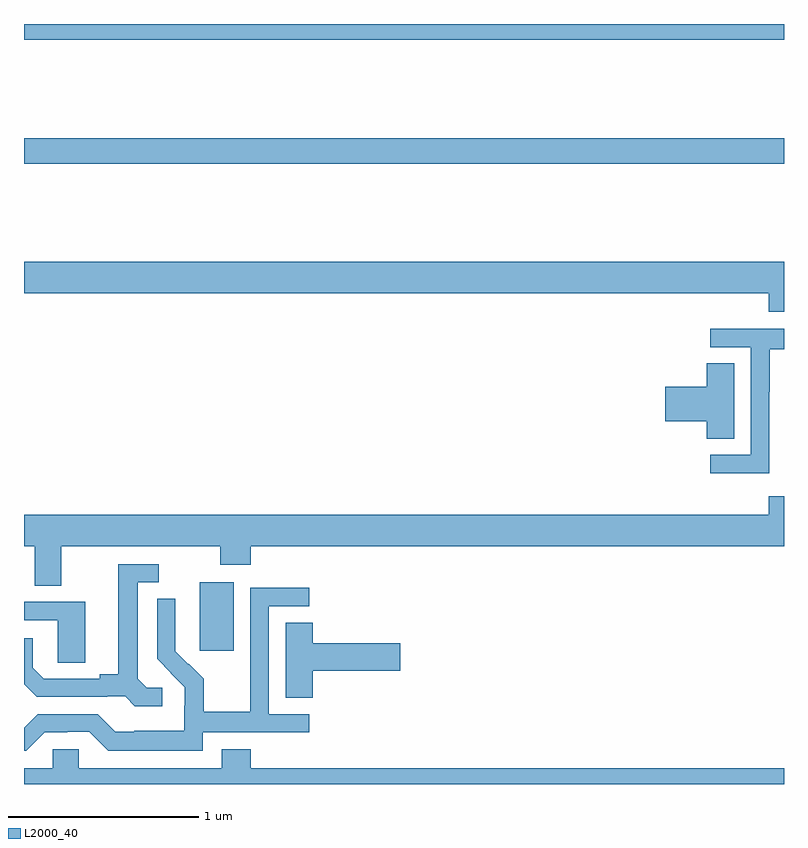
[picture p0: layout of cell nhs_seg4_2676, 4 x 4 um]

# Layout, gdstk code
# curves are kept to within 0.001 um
import gdstk
lib = gdstk.Library(unit=1e-6, precision=1e-09)
def R(c, l, rs):  # rectangles x0, y0, x1, y1
    for r in rs: c.add(gdstk.rectangle(r[:2], r[2:], *l))
def P(c, l, *ps):  # polygons
    for p in ps: c.add(gdstk.Polygon(p, *l))
L2000_40 = (2000, 40)

nhs_seg4_2676 = lib.new_cell('nhs_seg4_2676')
R(nhs_seg4_2676, L2000_40, [(251.924,797.601,252.103,797.962), (251,800.164,255,800.3), (251,800.816,255,800.9)])
P(nhs_seg4_2676, L2000_40, [(255,799.648),(251,799.648),(251,799.484),(254.921,799.484),(254.921,799.385),(255,799.385)],
  [(254.922,798.964),(254.925,798.964),(254.925,799.188),(255,799.188),(255,799.296),(254.613,799.296),(254.613,799.2),(254.826,799.2),(254.826,798.633),(254.613,798.633),(254.613,798.535),(254.922,798.535)],
  [(254.737,799.115),(254.594,799.115),(254.594,798.992),(254.376,798.992),(254.376,798.809),(254.594,798.809),(254.594,798.718),(254.737,798.718)],
  [(251.197,798.152),(252.034,798.152),(252.034,798.053),(252.194,798.053),(252.194,798.152),(255,798.152),(255,798.415),(254.921,798.415),(254.921,798.316),(251,798.316),(251,798.152),(251.057,798.152),(251.057,797.944),(251.197,797.944)],
  [(251.728,797.406),(251.646,797.406),(251.599,797.453),(251.599,797.961),(251.71,797.961),(251.71,798.057),(251.495,798.057),(251.495,797.477),(251.399,797.477),(251.399,797.454),(251.104,797.454),(251.047,797.511),(251.047,797.668),(251,797.668),(251,797.424),(251.066,797.358),(251.438,797.358),(251.438,797.361),(251.532,797.361),(251.584,797.309),(251.728,797.309)],
  [(251.94,797.172),(252.502,797.172),(252.502,797.268),(252.288,797.268),(252.288,797.835),(252.502,797.835),(252.502,797.934),(252.192,797.934),(252.192,797.504),(252.19,797.504),(252.19,797.281),(251.945,797.281),(251.945,797.455),(251.868,797.532),(251.865,797.529),(251.795,797.6),(251.796,797.876),(251.7,797.876),(251.7,797.558),(251.846,797.41),(251.846,797.313),(251.844,797.313),(251.844,797.179),(251.581,797.179),(251.581,797.175),(251.481,797.175),(251.388,797.268),(251.073,797.268),(251,797.195),(251,797.076),(251.013,797.076),(251.109,797.172),(251.228,797.172),(251.228,797.175),(251.343,797.175),(251.443,797.075),(251.94,797.075)],
  [(251.323,797.859),(251,797.859),(251,797.763),(251.178,797.763),(251.178,797.539),(251.323,797.539)],
  [(252.521,797.495),(252.979,797.495),(252.979,797.642),(252.521,797.642),(252.521,797.75),(252.377,797.75),(252.377,797.353),(252.521,797.353)],
  [(255,796.984),(252.194,796.984),(252.194,797.083),(252.041,797.083),(252.041,796.984),(251.289,796.984),(251.289,797.082),(251.151,797.082),(251.151,796.984),(251,796.984),(251,796.9),(255,796.9)])

lib.write_gds('nhs_seg4_2676.gds')
